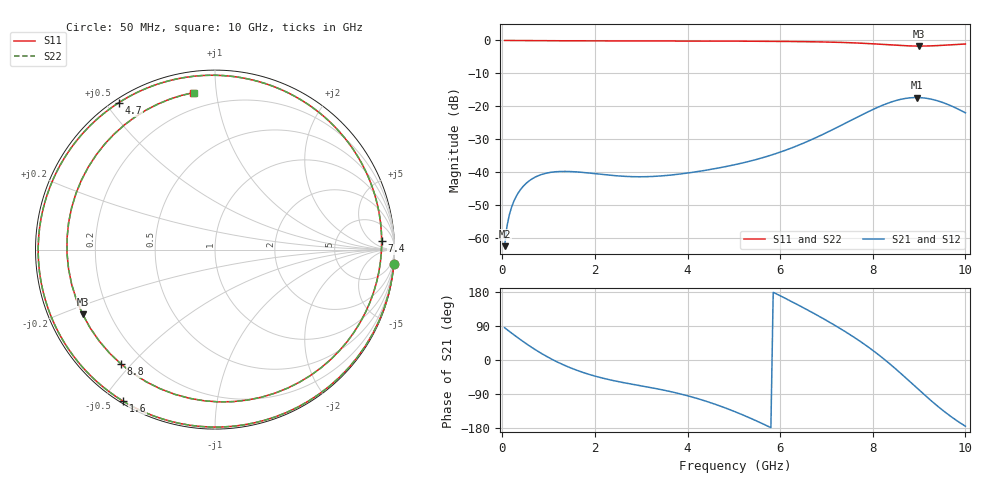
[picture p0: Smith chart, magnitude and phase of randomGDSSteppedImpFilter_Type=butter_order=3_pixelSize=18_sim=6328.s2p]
! freq	dB(S11)	phase(S11)	dB(S12)	phase(S12)
!  dB(S21)	phase(S21)	dB(S22)	phase(S22)
!S-par simulation data
#  GHz  S  DB  R 50
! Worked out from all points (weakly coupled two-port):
!   200 points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, 50 MHz to 10 GHz, reference 50 ohm
!   highest |S21| = -17.36 dB at 8.95 GHz (marker M1); lowest = -62.6 dB at 50 MHz (marker M2)
!   lowest |S11| = -1.7 dB at 9 GHz (marker M3), VSWR 10.17, Z = 5.18 - j11.4 ohm
!   |S11| at or under -10 dB: nowhere
!   |S22| runs from -1.7 to 0.0 dB; largest |S21 - S12| = 0
!   S11 on the Smith chart (normalised r, x): 50 MHz: 0, -24; 1.6 GHz: 0.01, -0.56; 4.7 GHz: 0.01, +0.54; 7.4 GHz: 18, +13; 8.8 GHz: 0.12, -0.47; 10 GHz: 0.11, +0.86
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0.05  -0.00 -4.7  -62.56 85.2  -62.56 85.2  -0.00 -4.7
0.1  -0.01 -9.5  -56.59 80.4  -56.59 80.4  -0.01 -9.5
0.2  -0.02 -18.8  -50.72 71.1  -50.72 71.1  -0.02 -18.8
0.45  -0.05 -41.3  -44.38 48.7  -44.38 48.7  -0.05 -41.3
0.95  -0.09 -81.2  -40.36 9.9  -40.36 9.9  -0.09 -81.2
1.6  -0.11 -121.3  -39.97 -26.7  -39.97 -26.7  -0.11 -121.3
1.75  -0.11 -129.0  -40.14 -33.1  -40.14 -33.1  -0.11 -129.1
2.5  -0.12 -161.8  -41.19 -56.9  -41.19 -56.9  -0.12 -161.9
3.4  -0.14 166.0  -41.23 -77.4  -41.23 -77.4  -0.14 165.9
4.7  -0.19 123.2  -38.70 -121.3  -38.70 -121.3  -0.19 123.0
5.05  -0.21 111.3  -37.69 -137.7  -37.69 -137.7  -0.21 111.0
5.95  -0.28 77.5  -34.21 172.5  -34.21 172.5  -0.28 77.2
6.7  -0.40 43.5  -30.02 124.9  -30.02 124.9  -0.40 43.1
7.4  -0.63 2.9  -25.23 75.3  -25.23 75.3  -0.63 2.6
7.9  -0.94 -34.7  -21.69 34.5  -21.69 34.5  -0.94 -35.0
8.35  -1.33 -77.6  -18.96 -8.4  -18.96 -8.4  -1.33 -77.9
8.8  -1.67 -129.4  -17.45 -56.9  -17.45 -56.9  -1.67 -129.6
8.95  -1.71 -147.8  -17.36 -73.6  -17.36 -73.6  -1.71 -148.1
9  -1.71 -154.0  -17.37 -79.1  -17.37 -79.1  -1.72 -154.2
9.4  -1.56 158.2  -18.36 -121.8  -18.36 -121.8  -1.56 157.8
9.7  -1.32 126.1  -19.93 -150.3  -19.93 -150.3  -1.32 125.6
10  -1.08 98.2  -22.01 -174.8  -22.01 -174.8  -1.08 97.6
